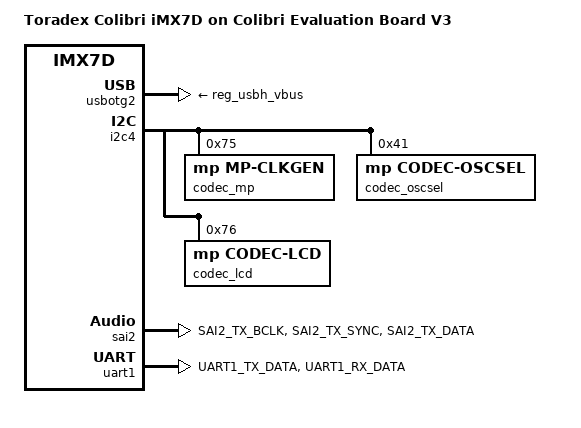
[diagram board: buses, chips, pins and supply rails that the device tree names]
/*
 * Copyright 2016 Toradex AG
 * Copyright 2019 Welsh Technologies, Inc
 *
 * This file is dual-licensed: you can use it either under the terms
 * of the GPL or the X11 license, at your option. Note that this dual
 * licensing only applies to this file, and not this project as a
 * whole.
 *
 *  a) This file is free software; you can redistribute it and/or
 *     modify it under the terms of the GNU General Public License as
 *     published by the Free Software Foundation; either version 2 of the
 *     License, or (at your option) any later version.
 *
 *     This file is distributed in the hope that it will be useful,
 *     but WITHOUT ANY WARRANTY; without even the implied warranty of
 *     MERCHANTABILITY or FITNESS FOR A PARTICULAR PURPOSE.  See the
 *     GNU General Public License for more details.
 *
 * Or, alternatively,
 *
 *  b) Permission is hereby granted, free of charge, to any person
 *     obtaining a copy of this software and associated documentation
 *     files (the "Software"), to deal in the Software without
 *     restriction, including without limitation the rights to use,
 *     copy, modify, merge, publish, distribute, sublicense, and/or
 *     sell copies of the Software, and to permit persons to whom the
 *     Software is furnished to do so, subject to the following
 *     conditions:
 *
 *     The above copyright notice and this permission notice shall be
 *     included in all copies or substantial portions of the Software.
 *
 *     THE SOFTWARE IS PROVIDED "AS IS", WITHOUT WARRANTY OF ANY KIND,
 *     EXPRESS OR IMPLIED, INCLUDING BUT NOT LIMITED TO THE WARRANTIES
 *     OF MERCHANTABILITY, FITNESS FOR A PARTICULAR PURPOSE AND
 *     NONINFRINGEMENT. IN NO EVENT SHALL THE AUTHORS OR COPYRIGHT
 *     HOLDERS BE LIABLE FOR ANY CLAIM, DAMAGES OR OTHER LIABILITY,
 *     WHETHER IN AN ACTION OF CONTRACT, TORT OR OTHERWISE, ARISING
 *     FROM, OUT OF OR IN CONNECTION WITH THE SOFTWARE OR THE USE OR
 *     OTHER DEALINGS IN THE SOFTWARE.
 */

/dts-v1/;
#include "imx7d-colibri.dtsi"
#include "imx7-colibri-eval-v3.dtsi"

/ {
	model = "Toradex Colibri iMX7D on Colibri Evaluation Board V3";
	compatible = "toradex,colibri-imx7d-eval-v3", "toradex,colibri-imx7d",
		     "fsl,imx7d";

	sound_mp {
		compatible = "simple-audio-card";
		simple-audio-card,name = "Musica Pristina Digital Output";
		simple-audio-card,format = "i2s";
		simple-audio-card,bitclock-master = <&mp_master>;
		simple-audio-card,frame-master = <&mp_master>;
		simple-audio-card,cpu {
			sound-dai = <&sai2>;
		};

		mp_master: simple-audio-card,codec {
			sound-dai = <&codec_mp>;
		};
	};
};

/* Kill default sound card. */
//&codec: sgtl5000@0a {
&codec {
	status = "disabled";
};

&usbotg2 {
	vbus-supply = <&reg_usbh_vbus>;
	status = "okay";
};

&i2c4 {
	status = "okay";
	codec_mp: mp_clkgen@75 {
		compatible = "mp,mp-clkgen";
		#sound-dai-cells = <0>;
		reg = <0x75>;
	};
	codec_oscsel: mp_oscsel@41 {
		compatible = "mp,codec-oscsel";
		mp,clkgen = <&codec_mp>;
		reg = <0x41>;
	};
	codec_lcd: mp_lcd@76 {
		compatible = "mp,codec-lcd";
		mp,clkgen = <&codec_mp>;
		reg = <0x76>;
	};
};

&sai2 {
	pinctrl-names = "default";
	pinctrl-0 = <&pinctrl_sai2>;
	status = "okay";
};



/* Disable uart1 since its pins overlap with sai2 pins. */
// &uart1 {
// 	status = "disabled";
// };

&uart1 {
	pinctrl-names = "default";
	pinctrl-0 = <&pinctrl_uart1>;
	assigned-clocks = <&clks IMX7D_UART1_ROOT_SRC>;
	assigned-clock-parents = <&clks IMX7D_OSC_24M_CLK>;
	// uart-has-rtscts; KILL THIS PROPERTY since we are stealing the pins for I2S
	fsl,dte-mode;
};

/* Disable uart2 since its pins overlap with sai2 pins. */
&uart2 {
	status = "disabled";
};

&iomuxc {
	pinctrl_sai2: sai2-grp {
		fsl,pins = <
			MX7D_PAD_SAI2_TX_BCLK__SAI2_TX_BCLK		0x1f
			MX7D_PAD_SAI2_TX_SYNC__SAI2_TX_SYNC		0x1f
			MX7D_PAD_SAI2_TX_DATA__SAI2_TX_DATA0	0
		>;
	};

	pinctrl_uart1: uart1-grp {
		fsl,pins = <
			MX7D_PAD_UART1_TX_DATA__UART1_DTE_RX	0x79
			MX7D_PAD_UART1_RX_DATA__UART1_DTE_TX	0x79
		>;
	};
};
